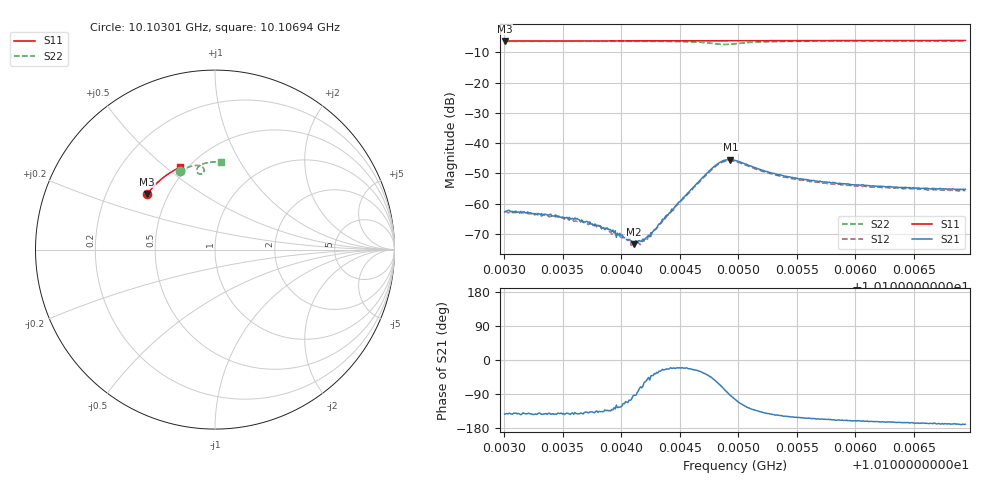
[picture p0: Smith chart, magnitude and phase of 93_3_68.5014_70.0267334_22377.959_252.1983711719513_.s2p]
#  HZ  S  RI  R  50.00
! Rohde & Schwarz Vector Network Analyzer
! Rohde-Schwarz,ZNB20-2Port,1311601062101988,3.16
! Created: UTC 3/20/2024, 4:52:45 PM
! freq[Hz]  re:S11  im:S11  re:S21  im:S21  re:S12  im:S12  re:S22  im:S22
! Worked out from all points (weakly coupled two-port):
!   401 points, 10.10301 GHz to 10.10694 GHz, reference 50 ohm
!   highest |S21| = -45.45 dB at 10.10493 GHz (marker M1); lowest = -73.5 dB at 10.10411 GHz (marker M2)
!   lowest |S11| = -6.2 dB at 10.10301 GHz (marker M3), VSWR 2.91, Z = 19.1 + j15.5 ohm
!   |S11| at or under -10 dB: nowhere
!   |S22| runs from -7.4 to -6.2 dB; largest |S21 - S12| = 0.00054
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1.0103005e10  -0.3775 0.3098  -0.000581 -0.00044  -0.000518 -0.000517  -0.1978 0.4382
1.0103379e10  -0.3635 0.3277  -0.000493 -0.000402  -0.00045 -0.000415  -0.1749 0.4488
1.0103625e10  -0.3537 0.3391  -0.000445 -0.00035  -0.000372 -0.000341  -0.1593 0.4553
1.0103664e10  -0.3523 0.341  -0.000412 -0.00034  -0.000359 -0.000357  -0.1566 0.4561
1.0103802e10  -0.3466 0.3474  -0.000324 -0.000291  -0.000297 -0.00033  -0.1474 0.4594
1.010389e10  -0.343 0.3512  -0.000263 -0.000272  -0.000221 -0.00026  -0.1412 0.4613
1.010391e10  -0.3421 0.3522  -0.000259 -0.000265  -0.000201 -0.000261  -0.14 0.4619
1.0103959e10  -0.3401 0.3542  -0.000134 -0.000241  -0.000152 -0.000254  -0.1363 0.4629
1.0104057e10  -0.3359 0.3586  -9.49e-05 -0.000232  -6.18e-05 -0.000235  -0.1291 0.4648
1.0104107e10  -0.3338 0.3606  -1.25e-05 -0.000212  -5.38e-06 -0.000197  -0.1254 0.4658
1.0104175e10  -0.3309 0.3637  6.77e-05 -0.000232  9.27e-05 -0.000203  -0.1202 0.4669
1.0104225e10  -0.3289 0.3658  0.00018 -0.000217  0.000182 -0.000178  -0.1162 0.4676
1.0104323e10  -0.3244 0.3699  0.000399 -0.000226  0.000393 -0.00021  -0.1077 0.4687
1.010448e10  -0.3174 0.3764  0.000925 -0.000339  0.000921 -0.000271  -0.0922 0.4688
1.0104775e10  -0.3039 0.3883  0.00259 -0.0028  0.0027 -0.00245  -0.0606 0.442
1.0104854e10  -0.3003 0.3912  0.00176 -0.00458  0.0021 -0.00423  -0.0685 0.4246
1.0104933e10  -0.2968 0.3941  -0.000342 -0.00533  0.000142 -0.0051  -0.0888 0.4221
1.0104972e10  -0.295 0.3956  -0.00125 -0.005  -0.000785 -0.0049  -0.0966 0.4279
1.0105316e10  -0.2787 0.4086  -0.00254 -0.00174  -0.00225 -0.00193  -0.0819 0.4705
1.0105631e10  -0.2631 0.4198  -0.00216 -0.00103  -0.00198 -0.00116  -0.0564 0.4806
1.010629e10  -0.2292 0.441  -0.00182 -0.000546  -0.00168 -0.000642  -0.00957 0.4879
1.0106939e10  -0.1945 0.4589  -0.0017 -0.000314  -0.00157 -0.000438  0.0338 0.4889
